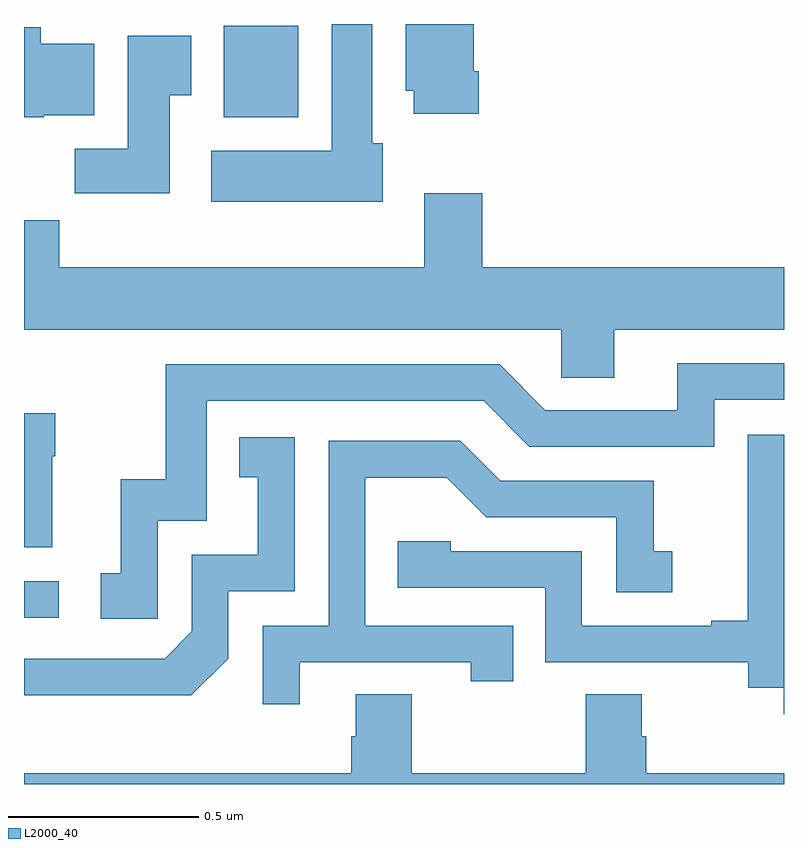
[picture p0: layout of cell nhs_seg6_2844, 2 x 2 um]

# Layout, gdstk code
import gdstk
lib = gdstk.Library(unit=1e-6, precision=1e-09)
def R(c, l, rs):  # rectangles x0, y0, x1, y1
    for r in rs: c.add(gdstk.rectangle(r[:2], r[2:], *l))
def P(c, l, *ps):  # polygons
    for p in ps: c.add(gdstk.Polygon(p, *l))
L2000_40 = (2000, 40)

nhs_seg6_2844 = lib.new_cell('nhs_seg6_2844')
R(nhs_seg6_2844, L2000_40, [(149,919.938,149.092,920.034), (149.525,921.254,149.722,921.496)])
P(nhs_seg6_2844, L2000_40, [(149.944,921.186),(149.917,921.186),(149.917,921.5),(149.81,921.5),(149.81,921.166),(149.493,921.166),(149.493,921.032),(149.944,921.032)],
  [(150.197,921.376),(150.184,921.376),(150.184,921.5),(150.005,921.5),(150.005,921.324),(150.026,921.324),(150.026,921.264),(150.197,921.264)],
  [(149.052,921.26),(149.185,921.26),(149.185,921.448),(149.044,921.448),(149.044,921.492),(149,921.492),(149,921.254),(149.052,921.254)],
  [(149.383,921.313),(149.44,921.313),(149.44,921.469),(149.273,921.469),(149.273,921.172),(149.134,921.172),(149.134,921.054),(149.383,921.054)],
  [(150.553,920.696),(151,920.696),(151,920.86),(150.206,920.86),(150.206,921.055),(150.053,921.055),(150.053,920.86),(149.093,920.86),(149.093,920.984),(149,920.984),(149,920.696),(150.414,920.696),(150.414,920.569),(150.553,920.569)],
  [(149.352,920.193),(149.481,920.193),(149.481,920.508),(150.21,920.508),(150.33,920.388),(150.816,920.388),(150.816,920.511),(151,920.511),(151,920.607),(150.719,920.607),(150.719,920.484),(150.372,920.484),(150.252,920.604),(149.373,920.604),(149.373,920.302),(149.255,920.302),(149.255,920.055),(149.202,920.055),(149.202,919.935),(149.352,919.935)],
  [(149.074,920.363),(149.082,920.363),(149.082,920.476),(149,920.476),(149,920.123),(149.074,920.123)],
  [(151,920.419),(150.904,920.419),(150.904,920.213),(150.905,920.213),(150.905,919.93),(150.809,919.93),(150.809,919.917),(150.468,919.917),(150.468,920.112),(150.123,920.112),(150.123,920.139),(149.983,920.139),(149.983,920.016),(150.372,920.016),(150.372,919.821),(150.906,919.821),(150.906,919.753),(150.999,919.753),(150.999,919.683),(151,919.683)],
  [(149.538,919.83),(149.538,920.007),(149.712,920.007),(149.712,920.413),(149.566,920.413),(149.566,920.307),(149.615,920.307),(149.615,920.103),(149.442,920.103),(149.442,919.902),(149.37,919.83),(149,919.83),(149,919.734),(149.032,919.734),(149.032,919.733),(149.44,919.733)],
  [(149.725,919.821),(150.176,919.821),(150.176,919.77),(150.287,919.77),(150.287,919.917),(149.898,919.917),(149.898,920.306),(150.112,920.306),(150.216,920.202),(150.558,920.202),(150.558,920.004),(150.706,920.004),(150.706,920.113),(150.657,920.113),(150.657,920.298),(150.253,920.298),(150.148,920.403),(149.802,920.403),(149.802,919.917),(149.628,919.917),(149.628,919.71),(149.725,919.71)],
  [(151,919.528),(150.638,919.528),(150.638,919.626),(150.625,919.626),(150.625,919.736),(150.478,919.736),(150.478,919.528),(150.021,919.528),(150.021,919.736),(149.873,919.736),(149.873,919.626),(149.861,919.626),(149.861,919.528),(149,919.528),(149,919.5),(151,919.5)])

lib.write_gds('nhs_seg6_2844.gds')
